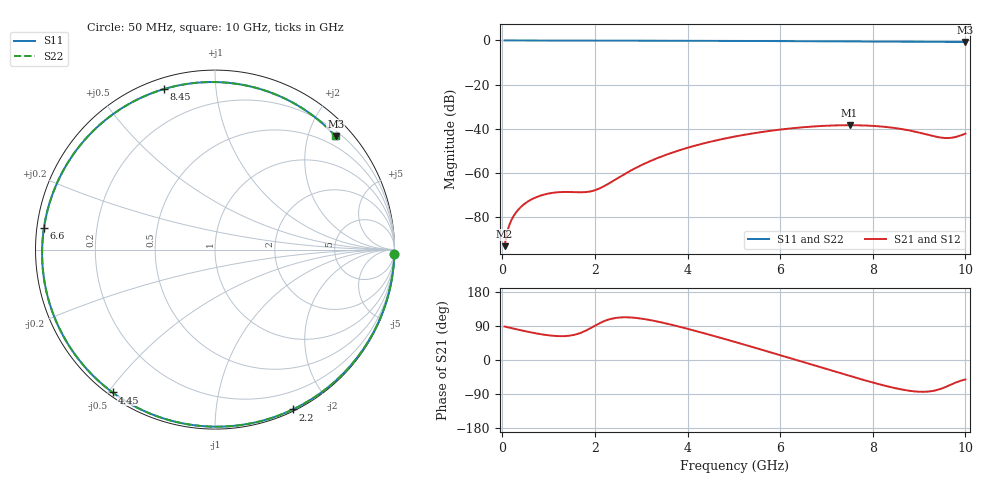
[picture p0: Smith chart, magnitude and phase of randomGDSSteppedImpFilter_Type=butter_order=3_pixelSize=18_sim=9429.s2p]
! freq	dB(S11)	phase(S11)	dB(S12)	phase(S12)
!  dB(S21)	phase(S21)	dB(S22)	phase(S22)
!S-par simulation data
#  GHz  S  DB  R 50
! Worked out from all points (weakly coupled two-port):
!   200 points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, 50 MHz to 10 GHz, reference 50 ohm
!   highest |S21| = -38.31 dB at 7.5 GHz (marker M1); lowest = -93.0 dB at 50 MHz (marker M2)
!   lowest |S11| = -0.7 dB at 10 GHz (marker M3), VSWR 24.61, Z = 14.9 + j125 ohm
!   |S11| at or under -10 dB: nowhere
!   |S22| runs from -0.7 to 0.0 dB; largest |S21 - S12| = 0
!   S11 on the Smith chart (normalised r, x): 50 MHz: 2, -77; 2.2 GHz: 0.02, -1.60; 4.45 GHz: 0.01, -0.51; 6.6 GHz: 0.02, +0.06; 8.45 GHz: 0.05, +0.73; 10 GHz: 0.30, +2.50
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0.05  -0.01 -1.5  -93.00 88.4  -93.00 88.4  -0.01 -1.5
0.2  -0.01 -6.0  -81.07 84.1  -81.07 84.1  -0.01 -6.0
0.5  -0.02 -14.9  -73.56 75.9  -73.56 75.9  -0.02 -14.9
0.85  -0.03 -25.2  -69.98 67.7  -69.98 67.7  -0.03 -25.2
1.2  -0.04 -35.4  -68.63 63.1  -68.63 63.1  -0.04 -35.4
1.75  -0.06 -51.3  -68.61 74.4  -68.61 74.4  -0.06 -51.3
1.95  -0.07 -57.0  -68.02 87.0  -68.02 87.0  -0.07 -56.9
2.2  -0.08 -64.0  -65.85 102.6  -65.85 102.6  -0.08 -64.0
2.8  -0.10 -80.8  -58.54 112.0  -58.54 112.0  -0.10 -80.7
3.4  -0.13 -97.2  -52.77 100.2  -52.77 100.2  -0.13 -97.1
4.45  -0.18 -125.7  -46.01 67.5  -46.01 67.5  -0.18 -125.6
5.05  -0.22 -142.1  -43.33 46.8  -43.33 46.8  -0.22 -142.0
5.85  -0.28 -164.7  -40.68 18.2  -40.68 18.2  -0.28 -164.6
6.6  -0.35 172.7  -39.06 -9.2  -39.06 -9.2  -0.35 172.8
6.7  -0.36 169.6  -38.91 -12.8  -38.91 -12.8  -0.36 169.7
7.5  -0.45 143.0  -38.31 -42.0  -38.31 -42.0  -0.45 143.1
8.35  -0.54 111.5  -39.26 -70.5  -39.26 -70.5  -0.54 111.7
8.45  -0.55 107.6  -39.52 -73.3  -39.52 -73.3  -0.55 107.8
8.85  -0.59 91.5  -40.95 -82.1  -40.95 -82.1  -0.59 91.7
9.2  -0.63 77.0  -42.71 -83.2  -42.71 -83.2  -0.63 77.2
9.65  -0.67 57.9  -44.09 -67.0  -44.09 -67.0  -0.67 58.1
10  -0.71 43.1  -42.11 -51.4  -42.11 -51.4  -0.71 43.3
